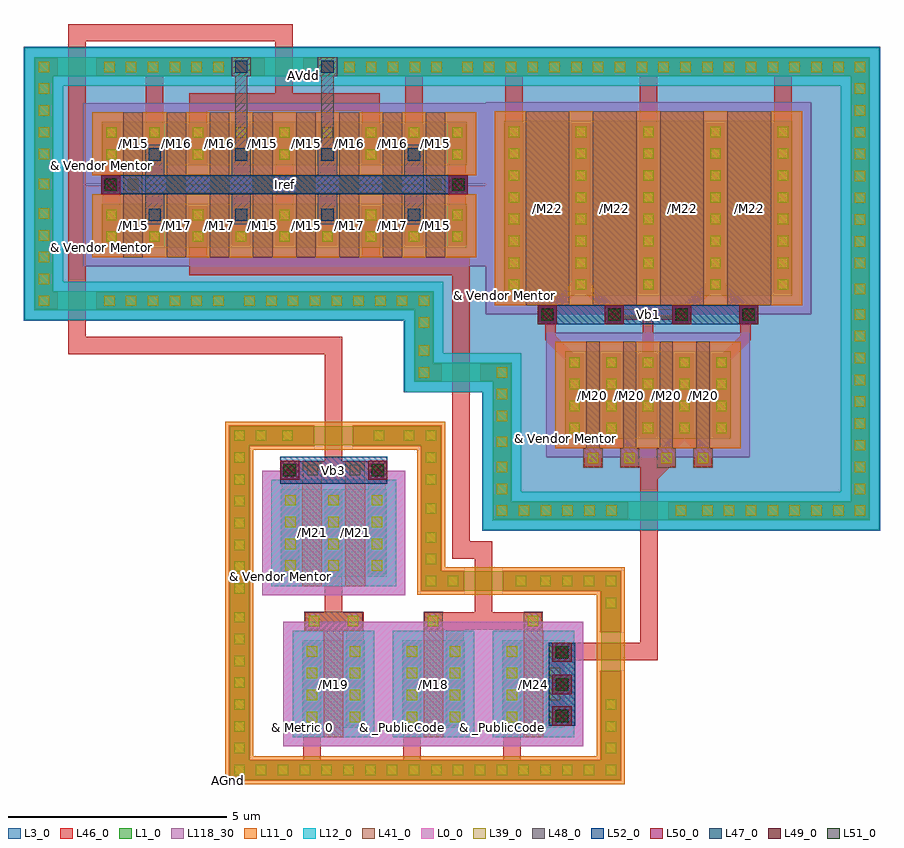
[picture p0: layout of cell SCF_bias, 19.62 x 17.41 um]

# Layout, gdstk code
import gdstk
lib = gdstk.Library(unit=1e-6, precision=1e-09)
def R(c, l, rs):  # rectangles x0, y0, x1, y1
    for r in rs: c.add(gdstk.rectangle(r[:2], r[2:], *l))
def A(c, l, x, y, w, h, nx, ny, dx, dy):  # array of equal rectangles
    R(c, l, [(x+i*dx, y+j*dy, x+i*dx+w, y+j*dy+h) for i in range(nx) for j in range(ny)])
def P(c, l, *ps):  # polygons
    for p in ps: c.add(gdstk.Polygon(p, *l))
L0_0 = (0, 0)
L1_0 = (1, 0)
L3_0 = (3, 0)
L11_0 = (11, 0)
L12_0 = (12, 0)
L39_0 = (39, 0)
L41_0 = (41, 0)
L46_0 = (46, 0)
L47_0 = (47, 0)
L48_0 = (48, 0)
L49_0 = (49, 0)
L50_0 = (50, 0)
L51_0 = (51, 0)
L52_0 = (52, 0)
L118_30 = (118, 30)

m2m3 = lib.new_cell('M2M3')
R(m2m3, L48_0, [(-0.22,-0.22,0.22,0.22)])
R(m2m3, L49_0, [(-0.14,-0.14,0.14,0.14)])
R(m2m3, L50_0, [(-0.22,-0.22,0.22,0.22)])

m3m4 = lib.new_cell('M3M4')
R(m3m4, L50_0, [(-0.22,-0.22,0.22,0.22)])
R(m3m4, L51_0, [(-0.14,-0.14,0.14,0.14)])
R(m3m4, L52_0, [(-0.22,-0.22,0.22,0.22)])

m1m2 = lib.new_cell('M1M2')
R(m1m2, L46_0, [(-0.22,-0.22,0.22,0.22)])
R(m1m2, L47_0, [(-0.14,-0.14,0.14,0.14)])
R(m1m2, L48_0, [(-0.22,-0.22,0.22,0.22)])

mpoly = lib.new_cell('MPOLY')
R(mpoly, L39_0, [(-0.12,-0.12,0.12,0.12)])
R(mpoly, L41_0, [(-0.22,-0.22,0.22,0.22)])
R(mpoly, L46_0, [(-0.2,-0.2,0.2,0.2)])

scf_bias = lib.new_cell('SCF_bias')
A(scf_bias, L0_0, 4.51, 4.87, 2.29, 2.86, 3, 1, 2.29, 0)
R(scf_bias, L0_0, [(4.02,8.33,7.3,11.19)])
A(scf_bias, L1_0, 4.94, 5.3, 1.43, 2, 3, 1, 2.29, 0)
R(scf_bias, L1_0, [(4.94,5.3,5.43,7.3), (5.88,5.3,6.37,7.3), (7.23,5.3,7.72,7.3), (8.17,5.3,8.66,7.3), (9.52,5.3,10.01,7.3), (10.46,5.3,10.95,7.3), (4.45,8.76,6.87,10.76), (4.45,8.76,4.94,10.76), (6.38,8.76,6.87,10.76), (10.96,11.92,11.45,13.92), (10.96,11.92,14.76,13.92), (14.27,11.92,14.76,13.92), (9.57,15.2,16.17,19.2), (9.57,15.2,10.06,19.2), (15.68,15.2,16.17,19.2), (0.35,16.3,8.71,17.3), (0.35,16.3,0.84,17.3), (8.22,16.3,8.71,17.3), (0.35,18.18,8.71,19.18), (0.35,18.18,0.84,19.18), (8.22,18.18,8.71,19.18)])
P(scf_bias, L1_0, [(12.23,4.11),(12.23,8.44),(11.79,8.44),(11.79,4.55),(3.72,4.55),(3.72,11.77),(7.67,11.77),(7.67,8.44),(12.23,8.44),(12.23,8.88),(8.11,8.88),(8.11,12.21),(3.28,12.21),(3.28,4.11)],
  [(17.94,10.05),(17.94,20.22),(17.5,20.22),(17.5,10.49),(9.74,10.49),(9.74,13.66),(7.95,13.66),(7.95,15.3),(-0.76,15.3),(-0.76,20.22),(17.94,20.22),(17.94,20.66),(-1.2,20.66),(-1.2,14.86),(7.51,14.86),(7.51,13.22),(9.3,13.22),(9.3,10.05)])
R(scf_bias, L3_0, [(10.53,11.49,15.19,14.35), (9.14,14.77,16.6,19.63), (-0.08,15.87,9.14,17.73), (-0.08,17.75,9.14,19.61)])
P(scf_bias, L3_0, [(18.18,9.81),(18.18,19.98),(17.26,19.98),(17.26,10.73),(9.98,10.73),(9.98,13.9),(8.19,13.9),(8.19,15.54),(-0.52,15.54),(-0.52,19.98),(18.18,19.98),(18.18,20.9),(-1.44,20.9),(-1.44,14.62),(7.27,14.62),(7.27,12.98),(9.06,12.98),(9.06,9.81)],
  [(-0.52,15.54),(8.19,15.54),(8.19,13.9),(9.98,13.9),(9.98,10.73),(17.26,10.73),(17.26,19.98),(-0.52,19.98)])
R(scf_bias, L11_0, [(10.74,11.7,14.98,14.14), (9.35,14.98,16.39,19.42), (0.13,16.08,8.93,17.52), (0.13,17.96,8.93,19.4)])
P(scf_bias, L11_0, [(12.33,4.01),(12.33,8.34),(11.69,8.34),(11.69,4.65),(3.82,4.65),(3.82,11.67),(7.57,11.67),(7.57,8.34),(12.33,8.34),(12.33,8.98),(8.21,8.98),(8.21,12.31),(3.18,12.31),(3.18,4.01)])
A(scf_bias, L12_0, 4.72, 5.08, 1.87, 2.44, 3, 1, 2.29, 0)
R(scf_bias, L12_0, [(4.23,8.54,7.09,10.98)])
P(scf_bias, L12_0, [(18.16,9.83),(18.16,20),(17.28,20),(17.28,10.71),(9.96,10.71),(9.96,13.88),(8.17,13.88),(8.17,15.52),(-0.54,15.52),(-0.54,20),(18.16,20),(18.16,20.88),(-1.42,20.88),(-1.42,14.64),(7.29,14.64),(7.29,13),(9.08,13),(9.08,9.83)])
A(scf_bias, L39_0, 3.38, 4.21, 0.24, 0.24, 9, 1, 0.5, 0)
A(scf_bias, L39_0, 7.89, 4.21, 0.24, 0.24, 9, 1, 0.5, 0)
A(scf_bias, L39_0, 3.38, 4.71, 0.24, 0.24, 1, 7, 0, 0.5)
A(scf_bias, L39_0, 11.89, 4.71, 0.24, 0.24, 1, 3, 0, 0.5)
A(scf_bias, L39_0, 5.04, 5.43, 0.24, 0.24, 1, 4, 0, 0.5)
A(scf_bias, L39_0, 6.03, 5.43, 0.24, 0.24, 1, 4, 0, 0.5)
A(scf_bias, L39_0, 7.33, 5.43, 0.24, 0.24, 1, 4, 0, 0.5)
A(scf_bias, L39_0, 8.32, 5.43, 0.24, 0.24, 1, 4, 0, 0.5)
A(scf_bias, L39_0, 9.62, 5.43, 0.24, 0.24, 1, 4, 0, 0.5)
A(scf_bias, L39_0, 10.61, 5.43, 0.24, 0.24, 1, 4, 0, 0.5)
A(scf_bias, L39_0, 3.38, 8.37, 0.24, 0.24, 1, 8, 0, 0.5)
A(scf_bias, L39_0, 7.77, 8.54, 0.24, 0.24, 1, 3, 0, 0.5)
A(scf_bias, L39_0, 10.39, 8.54, 0.24, 0.24, 4, 1, 0.5, 0)
A(scf_bias, L39_0, 4.55, 8.89, 0.24, 0.24, 3, 4, 0.99, 0.5)
A(scf_bias, L39_0, 9.4, 10.15, 0.24, 0.24, 6, 1, 0.5, 0)
A(scf_bias, L39_0, 14.1, 10.15, 0.24, 0.24, 8, 1, 0.5, 0)
A(scf_bias, L39_0, 17.6, 10.65, 0.24, 0.24, 1, 9, 0, 0.5)
A(scf_bias, L39_0, 7.77, 10.87, 0.24, 0.24, 1, 3, 0, 0.5)
A(scf_bias, L39_0, 11.06, 12.05, 0.24, 0.24, 5, 4, 0.84, 0.5)
A(scf_bias, L39_0, 9.4, 12.32, 0.24, 0.24, 1, 3, 0, 0.5)
A(scf_bias, L39_0, -1.1, 14.96, 0.24, 0.24, 1, 5, 0, 0.5)
A(scf_bias, L39_0, 0.4, 14.96, 0.24, 0.24, 6, 1, 0.5, 0)
A(scf_bias, L39_0, 3.61, 14.96, 0.24, 0.24, 9, 1, 0.5, 0)
A(scf_bias, L39_0, 9.67, 15.33, 0.24, 0.24, 5, 8, 1.54, 0.5)
A(scf_bias, L39_0, 17.6, 15.82, 0.24, 0.24, 1, 9, 0, 0.5)
A(scf_bias, L39_0, 0.45, 16.43, 0.24, 0.24, 9, 2, 0.99, 0.5)
A(scf_bias, L39_0, 0.45, 18.31, 0.24, 0.24, 9, 2, 0.99, 0.5)
A(scf_bias, L39_0, -1.1, 18.32, 0.24, 0.24, 1, 5, 0, 0.5)
A(scf_bias, L39_0, 0.4, 20.32, 0.24, 0.24, 7, 1, 0.5, 0)
A(scf_bias, L39_0, 5.4, 20.32, 0.24, 0.24, 6, 1, 0.5, 0)
A(scf_bias, L39_0, 8.6, 20.32, 0.24, 0.24, 19, 1, 0.5, 0)
R(scf_bias, L39_0, [(11.89,8.04,12.13,8.28), (8.27,8.54,8.51,8.78), (9.83,8.54,10.07,8.78), (13.5,10.15,13.74,10.39), (7.77,10.2,8.01,10.44), (9.4,10.65,9.64,10.89), (9.4,11.15,9.64,11.39), (9.4,11.73,9.64,11.97), (3.88,11.87,4.12,12.11), (4.48,11.87,4.72,12.11), (6.58,11.87,6.82,12.11), (7.27,11.87,7.51,12.11), (7.61,13.32,7.85,13.56), (7.61,13.82,7.85,14.06), (7.61,14.46,7.85,14.7), (17.6,15.23,17.84,15.47), (-1.1,17.64,-0.86,17.88)])
A(scf_bias, L41_0, 5.43, 5.08, 0.45, 0.22, 3, 2, 2.29, 2.22)
A(scf_bias, L41_0, 5.43, 5.3, 0.45, 2, 3, 1, 2.29, 0)
A(scf_bias, L41_0, 11.45, 11.7, 0.3, 0.22, 4, 2, 0.84, 2.22)
A(scf_bias, L41_0, 11.45, 11.92, 0.3, 2, 4, 1, 0.84, 0)
A(scf_bias, L41_0, 10.06, 14.98, 1, 0.22, 4, 2, 1.54, 4.22)
A(scf_bias, L41_0, 10.06, 15.2, 1, 4, 4, 1, 1.54, 0)
A(scf_bias, L41_0, 0.84, 16.08, 0.45, 0.22, 8, 2, 0.99, 1.22)
A(scf_bias, L41_0, 0.84, 16.3, 0.45, 1, 8, 2, 0.99, 1.88)
A(scf_bias, L41_0, 0.84, 17.96, 0.45, 0.22, 8, 2, 0.99, 1.22)
R(scf_bias, L41_0, [(5.43,7.52,5.88,7.96), (5.44,7.52,6.32,7.96), (4.94,8.54,5.39,8.76), (5.93,8.54,6.38,8.76), (4.94,8.76,5.39,10.76), (5.93,8.76,6.38,10.76), (4.94,10.76,5.39,10.98), (5.93,10.76,6.38,10.98)])
A(scf_bias, L46_0, 4.96, 4.17, 0.4, 1.58, 3, 1, 2.29, 0)
A(scf_bias, L46_0, 4.47, 8.81, 0.4, 1.9, 3, 1, 0.99, 0)
A(scf_bias, L46_0, 10.98, 11.97, 0.4, 1.9, 5, 1, 0.84, 0)
A(scf_bias, L46_0, 9.59, 15.25, 0.4, 3.9, 5, 1, 1.54, 0)
A(scf_bias, L46_0, 0.37, 16.35, 0.4, 0.9, 9, 2, 0.99, 1.88)
A(scf_bias, L46_0, 0.37, 16.85, 0.4, 1.09, 3, 2, 3.96, 0.69)
A(scf_bias, L46_0, 9.59, 18.73, 0.4, 1.91, 3, 1, 3.08, 0)
R(scf_bias, L46_0, [(4.96,5.35,5.36,7.25), (5.95,5.35,6.35,7.25), (7.25,5.35,7.65,7.25), (8.24,5.35,8.64,7.25), (9.54,5.35,9.94,7.25), (10.53,5.35,10.93,7.25), (8.24,6.85,8.64,7.94), (5.01,7.54,5.86,7.94), (5.46,7.54,5.86,9.21), (7.74,7.54,8.64,7.94), (8.24,7.54,9.29,7.94), (8.89,7.54,10.43,7.94), (4.97,11,5.86,11.4), (5.46,11,6.35,11.4), (6.31,15.67,6.71,16.75), (0.37,17.54,1.26,17.94), (0.86,17.54,8.2,17.94), (7.8,17.54,8.69,17.94), (0.43,17.62,0.69,17.86), (8.37,17.62,8.63,17.86), (1.36,18.73,1.76,20.64), (7.3,18.73,7.7,20.64), (0.22,20.24,4.08,20.64)])
P(scf_bias, L46_0, [(12.25,7.49),(12.25,8.9),(9.53,8.9),(9.53,8.42),(11.77,8.42),(11.77,7.49)],
  [(12.25,4.09),(12.25,6.61),(11.77,6.61),(11.77,4.57),(3.74,4.57),(3.74,11.75),(5.22,11.75),(5.22,12.23),(3.26,12.23),(3.26,4.09)],
  [(8.65,8.42),(8.65,8.9),(8.13,8.9),(8.13,12.23),(6.1,12.23),(6.1,11.75),(7.65,11.75),(7.65,8.42)],
  [(12.41,10.07),(12.41,10.47),(9.72,10.47),(9.72,13.64),(9.02,13.64),(9.02,13.24),(9.32,13.24),(9.32,10.07)],
  [(8.14,13.24),(8.14,13.64),(7.93,13.64),(7.93,15.28),(0.22,15.28),(0.22,14.88),(7.53,14.88),(7.53,13.24)],
  [(-0.66,14.88),(-0.66,15.28),(-0.78,15.28),(-0.78,20.24),(-0.66,20.24),(-0.66,20.64),(-1.18,20.64),(-1.18,14.88)],
  [(17.92,10.07),(17.92,20.64),(4.96,20.64),(4.96,20.24),(17.52,20.24),(17.52,10.47),(13.32,10.47),(13.32,10.07)],
  [(4.96,20.24),(17.52,20.24),(17.52,10.47),(13.32,10.47),(13.32,10.07),(17.92,10.07),(17.92,20.64),(4.96,20.64)],
  [(3.26,4.09),(12.25,4.09),(12.25,6.61),(11.77,6.61),(11.77,4.57),(3.74,4.57),(3.74,12.23),(3.26,12.23)],
  [(5.46,7.54),(5.95,7.54),(5.95,6.85),(6.35,6.85),(6.35,7.94),(5.46,7.94)],
  [(-0.42,13.86),(5.46,13.86),(5.46,11),(5.86,11),(5.86,14.26),(-0.02,14.26),(-0.02,21.02),(4.32,21.02),(4.32,19.43),(4.72,19.43),(4.72,21.42),(-0.42,21.42)],
  [(4.32,19.43),(6.31,19.43),(6.31,18.73),(6.71,18.73),(6.71,19.83),(4.32,19.83)],
  [(2.35,15.67),(6.71,15.67),(6.71,16.07),(2.75,16.07),(2.75,16.75),(2.35,16.75)],
  [(2.35,18.73),(2.75,18.73),(2.75,19.43),(4.72,19.43),(4.72,19.83),(2.35,19.83)],
  [(5.95,11),(6.45,11),(6.45,10.31),(6.85,10.31),(6.85,11.4),(5.95,11.4)],
  [(4.47,10.31),(4.87,10.31),(4.87,11),(5.37,11),(5.37,11.4),(4.47,11.4)],
  [(10.53,6.85),(13.08,6.85),(13.08,10.99),(13.48,11.39),(13.34,11.53),(13.7,11.89),(14.08,11.51),(14.08,11.36),(14.32,11.36),(14.32,11.61),(13.9,12.03),(13.9,12.21),(13.5,12.21),(13.5,12.03),(13.08,11.61),(13.08,11.68),(12.64,11.68),(12.64,11.61),(12.22,12.03),(12.22,12.21),(11.82,12.21),(11.82,12.03),(11.4,11.61),(11.4,11.36),(11.64,11.36),(11.64,11.51),(12.02,11.89),(12.4,11.51),(12.4,11.36),(12.64,11.36),(12.64,11.28),(12.68,11.28),(12.68,7.25),(10.53,7.25)],
  [(6.31,15.67),(8.38,15.67),(8.38,9.17),(8.89,9.17),(8.89,7.54),(9.29,7.54),(9.29,9.57),(8.78,9.57),(8.78,16.07),(6.31,16.07)],
  [(10.35,14.73),(10.51,14.57),(10.51,14.17),(11.1,13.58),(11.27,13.75),(10.75,14.27),(10.75,14.79),(11.21,15.25),(11.43,15.25),(11.97,14.71),(11.97,14.64),(12.04,14.64),(12.12,14.56),(12.2,14.64),(12.74,14.64),(12.74,13.63),(12.98,13.63),(12.98,14.64),(13.52,14.64),(13.6,14.56),(13.68,14.64),(13.75,14.64),(13.75,14.71),(14.29,15.25),(14.51,15.25),(14.97,14.79),(14.97,14.27),(14.45,13.75),(14.62,13.58),(15.21,14.17),(15.21,14.57),(15.37,14.73),(14.61,15.49),(14.19,15.49),(13.58,14.88),(12.14,14.88),(11.53,15.49),(11.11,15.49)])
R(scf_bias, L48_0, [(3.4,18.29,3.68,20.58), (5.38,18.29,5.66,20.58)])
P(scf_bias, L48_0, [(1.34,16.83),(1.78,16.83),(1.78,17.54),(3.32,17.54),(3.32,16.83),(3.76,16.83),(3.76,17.54),(5.3,17.54),(5.3,16.83),(5.74,16.83),(5.74,17.54),(7.28,17.54),(7.28,16.83),(7.72,16.83),(7.72,18.65),(7.28,18.65),(7.28,17.94),(5.74,17.94),(5.74,18.65),(5.3,18.65),(5.3,17.94),(3.76,17.94),(3.76,18.65),(3.32,18.65),(3.32,17.94),(1.78,17.94),(1.78,18.65),(1.34,18.65)])
R(scf_bias, L52_0, [(10.59,5.35,11.19,7.25), (4.43,10.89,6.89,11.51), (10.33,14.54,15.39,14.98), (0.33,17.52,8.73,17.96)])
A(scf_bias, L118_30, 4.51, 4.87, 2.29, 2.86, 3, 1, 2.29, 0)
R(scf_bias, L118_30, [(4.02,8.33,7.3,11.19), (10.53,11.49,15.19,14.35), (9.14,14.77,16.6,19.63), (-0.08,15.87,9.14,17.73), (-0.08,17.75,9.14,19.61)])
scf_bias.add(gdstk.Reference(m2m3, (10.89,6.29)))
scf_bias.add(gdstk.Reference(m3m4, (10.89,7.03)))
scf_bias.add(gdstk.Reference(m1m2, (10.89,6.29)))
scf_bias.add(gdstk.Reference(m1m2, (10.89,5.57)))
scf_bias.add(gdstk.Reference(m2m3, (10.89,5.57)))
scf_bias.add(gdstk.Reference(m3m4, (10.89,5.57)))
scf_bias.add(gdstk.Reference(mpoly, (7.94,7.74)))
scf_bias.add(gdstk.Reference(mpoly, (5.21,7.74)))
scf_bias.add(gdstk.Reference(m2m3, (10.89,7.03)))
scf_bias.add(gdstk.Reference(mpoly, (10.23,7.74)))
scf_bias.add(gdstk.Reference(m3m4, (10.89,6.29)))
scf_bias.add(gdstk.Reference(m1m2, (10.89,7.03)))
scf_bias.add(gdstk.Reference(mpoly, (6.1,7.74)))
scf_bias.add(gdstk.Reference(mpoly, (6.01,17.74)))
scf_bias.add(gdstk.Reference(m1m2, (1.56,18.43)))
scf_bias.add(gdstk.Reference(m1m2, (0.55,17.74)))
scf_bias.add(gdstk.Reference(m1m2, (5.52,20.44)))
scf_bias.add(gdstk.Reference(mpoly, (5.02,17.74)))
scf_bias.add(gdstk.Reference(m1m2, (7.5,17.05)))
scf_bias.add(gdstk.Reference(m1m2, (1.56,17.05)))
scf_bias.add(gdstk.Reference(m1m2, (7.5,18.43)))
scf_bias.add(gdstk.Reference(mpoly, (1.06,17.74)))
scf_bias.add(gdstk.Reference(mpoly, (4.03,17.74)))
scf_bias.add(gdstk.Reference(mpoly, (3.05,17.74)))
scf_bias.add(gdstk.Reference(mpoly, (1.06,17.74)))
scf_bias.add(gdstk.Reference(m1m2, (3.54,18.43)))
scf_bias.add(gdstk.Reference(m1m2, (3.54,20.44)))
scf_bias.add(gdstk.Reference(mpoly, (2.05,17.74)))
scf_bias.add(gdstk.Reference(m3m4, (6.67,11.2)))
scf_bias.add(gdstk.Reference(m1m2, (6.67,11.2)))
scf_bias.add(gdstk.Reference(m2m3, (6.67,11.2)))
scf_bias.add(gdstk.Reference(m2m3, (4.65,11.2)))
scf_bias.add(gdstk.Reference(m1m2, (4.65,11.2)))
scf_bias.add(gdstk.Reference(mpoly, (5.17,11.2)))
scf_bias.add(gdstk.Reference(mpoly, (6.15,11.2)))
scf_bias.add(gdstk.Reference(m3m4, (4.65,11.2)))
scf_bias.add(gdstk.Reference(mpoly, (7,17.74)))
scf_bias.add(gdstk.Reference(m1m2, (5.52,18.43)))
scf_bias.add(gdstk.Reference(m1m2, (5.52,17.05)))
scf_bias.add(gdstk.Reference(m1m2, (3.54,17.05)))
scf_bias.add(gdstk.Reference(m2m3, (0.55,17.74)))
scf_bias.add(gdstk.Reference(m3m4, (0.55,17.74)))
scf_bias.add(gdstk.Reference(m1m2, (15.17,14.76)))
scf_bias.add(gdstk.Reference(m2m3, (15.17,14.76)))
scf_bias.add(gdstk.Reference(m2m3, (13.63,14.76)))
scf_bias.add(gdstk.Reference(m2m3, (12.09,14.76)))
scf_bias.add(gdstk.Reference(m2m3, (10.55,14.76)))
scf_bias.add(gdstk.Reference(m3m4, (10.55,14.76)))
scf_bias.add(gdstk.Reference(m3m4, (12.09,14.76)))
scf_bias.add(gdstk.Reference(m3m4, (13.63,14.76)))
scf_bias.add(gdstk.Reference(m3m4, (15.17,14.76)))
scf_bias.add(gdstk.Reference(mpoly, (10.55,14.76)))
scf_bias.add(gdstk.Reference(m2m3, (8.51,17.74)))
scf_bias.add(gdstk.Reference(m1m2, (8.51,17.74)))
scf_bias.add(gdstk.Reference(mpoly, (8,17.74)))
scf_bias.add(gdstk.Reference(mpoly, (12.44,11.48)))
scf_bias.add(gdstk.Reference(mpoly, (11.6,11.48)))
scf_bias.add(gdstk.Reference(mpoly, (13.63,14.76)))
scf_bias.add(gdstk.Reference(mpoly, (13.28,11.48)))
scf_bias.add(gdstk.Reference(mpoly, (14.12,11.48)))
scf_bias.add(gdstk.Reference(mpoly, (12.09,14.76)))
scf_bias.add(gdstk.Reference(m3m4, (8.51,17.74)))
scf_bias.add(gdstk.Reference(mpoly, (15.17,14.76)))
scf_bias.add(gdstk.Reference(m1m2, (10.55,14.76)))
scf_bias.add(gdstk.Reference(m1m2, (12.09,14.76)))
scf_bias.add(gdstk.Reference(m1m2, (13.63,14.76)))
scf_bias.add(gdstk.Label('/M21', (5.17,9.76), layer=85, texttype=0))
scf_bias.add(gdstk.Label('/M21', (6.16,9.76), layer=85, texttype=0))
scf_bias.add(gdstk.Label('& Vendor Mentor', (4.45,8.76), layer=63, texttype=63))
scf_bias.add(gdstk.Label('& Product UMC180FDKMFM', (4.45,8.76), layer=63, texttype=63))
scf_bias.add(gdstk.Label('& Version A01', (4.45,8.76), layer=63, texttype=63))
scf_bias.add(gdstk.Label('& Metric 0', (4.45,8.76), layer=63, texttype=63))
scf_bias.add(gdstk.Label('& _PublicCode', (4.45,8.76), layer=63, texttype=63))
scf_bias.add(gdstk.Label('/M15', (1.069,16.8), layer=85, texttype=0))
scf_bias.add(gdstk.Label('/M17', (2.059,16.8), layer=85, texttype=0))
scf_bias.add(gdstk.Label('/M17', (3.049,16.8), layer=85, texttype=0))
scf_bias.add(gdstk.Label('/M15', (4.039,16.8), layer=85, texttype=0))
scf_bias.add(gdstk.Label('/M15', (5.029,16.8), layer=85, texttype=0))
scf_bias.add(gdstk.Label('/M17', (6.019,16.8), layer=85, texttype=0))
scf_bias.add(gdstk.Label('/M17', (7.009,16.8), layer=85, texttype=0))
scf_bias.add(gdstk.Label('/M15', (7.999,16.8), layer=85, texttype=0))
scf_bias.add(gdstk.Label('& Vendor Mentor', (0.35,16.3), layer=63, texttype=63))
scf_bias.add(gdstk.Label('& Product UMC180FDKMFM', (0.35,16.3), layer=63, texttype=63))
scf_bias.add(gdstk.Label('& Version A01', (0.35,16.3), layer=63, texttype=63))
scf_bias.add(gdstk.Label('& Metric 0', (0.35,16.3), layer=63, texttype=63))
scf_bias.add(gdstk.Label('& _PublicCode', (0.35,16.3), layer=63, texttype=63))
scf_bias.add(gdstk.Label('& _PublicCode', (9.52,5.3), layer=63, texttype=63))
scf_bias.add(gdstk.Label('/M24', (10.24,6.3), layer=85, texttype=0))
scf_bias.add(gdstk.Label('& Vendor Mentor', (9.52,5.3), layer=63, texttype=63))
scf_bias.add(gdstk.Label('& Product UMC180FDKMFM', (9.52,5.3), layer=63, texttype=63))
scf_bias.add(gdstk.Label('& Version A01', (9.52,5.3), layer=63, texttype=63))
scf_bias.add(gdstk.Label('& Metric 0', (9.52,5.3), layer=63, texttype=63))
scf_bias.add(gdstk.Label('& Metric 0', (4.94,5.3), layer=63, texttype=63))
scf_bias.add(gdstk.Label('& Version A01', (4.94,5.3), layer=63, texttype=63))
scf_bias.add(gdstk.Label('& Product UMC180FDKMFM', (4.94,5.3), layer=63, texttype=63))
scf_bias.add(gdstk.Label('& Vendor Mentor', (4.94,5.3), layer=63, texttype=63))
scf_bias.add(gdstk.Label('/M19', (5.66,6.3), layer=85, texttype=0))
scf_bias.add(gdstk.Label('& _PublicCode', (4.94,5.3), layer=63, texttype=63))
scf_bias.add(gdstk.Label('/M15', (1.069,18.68), layer=85, texttype=0))
scf_bias.add(gdstk.Label('/M16', (2.059,18.68), layer=85, texttype=0))
scf_bias.add(gdstk.Label('/M16', (3.049,18.68), layer=85, texttype=0))
scf_bias.add(gdstk.Label('/M15', (4.039,18.68), layer=85, texttype=0))
scf_bias.add(gdstk.Label('/M15', (5.029,18.68), layer=85, texttype=0))
scf_bias.add(gdstk.Label('/M16', (6.019,18.68), layer=85, texttype=0))
scf_bias.add(gdstk.Label('/M16', (7.009,18.68), layer=85, texttype=0))
scf_bias.add(gdstk.Label('/M15', (7.999,18.68), layer=85, texttype=0))
scf_bias.add(gdstk.Label('& Vendor Mentor', (0.35,18.18), layer=63, texttype=63))
scf_bias.add(gdstk.Label('& Product UMC180FDKMFM', (0.35,18.18), layer=63, texttype=63))
scf_bias.add(gdstk.Label('& Version A01', (0.35,18.18), layer=63, texttype=63))
scf_bias.add(gdstk.Label('& Metric 0', (0.35,18.18), layer=63, texttype=63))
scf_bias.add(gdstk.Label('& _PublicCode', (0.35,18.18), layer=63, texttype=63))
scf_bias.add(gdstk.Label('& _PublicCode', (7.23,5.3), layer=63, texttype=63))
scf_bias.add(gdstk.Label('/M18', (7.95,6.3), layer=85, texttype=0))
scf_bias.add(gdstk.Label('& Vendor Mentor', (7.23,5.3), layer=63, texttype=63))
scf_bias.add(gdstk.Label('& Product UMC180FDKMFM', (7.23,5.3), layer=63, texttype=63))
scf_bias.add(gdstk.Label('& Version A01', (7.23,5.3), layer=63, texttype=63))
scf_bias.add(gdstk.Label('& Metric 0', (7.23,5.3), layer=63, texttype=63))
scf_bias.add(gdstk.Label('/M20', (12.44,12.92), layer=85, texttype=0))
scf_bias.add(gdstk.Label('/M20', (11.6,12.92), layer=85, texttype=0))
scf_bias.add(gdstk.Label('/M20', (13.28,12.92), layer=85, texttype=0))
scf_bias.add(gdstk.Label('/M20', (14.12,12.92), layer=85, texttype=0))
scf_bias.add(gdstk.Label('& Vendor Mentor', (10.96,11.92), layer=63, texttype=63))
scf_bias.add(gdstk.Label('& Product UMC180FDKMFM', (10.96,11.92), layer=63, texttype=63))
scf_bias.add(gdstk.Label('& Version A01', (10.96,11.92), layer=63, texttype=63))
scf_bias.add(gdstk.Label('& Metric 0', (10.96,11.92), layer=63, texttype=63))
scf_bias.add(gdstk.Label('& _PublicCode', (10.96,11.92), layer=63, texttype=63))
scf_bias.add(gdstk.Label('/M22', (10.56,17.2), layer=85, texttype=0))
scf_bias.add(gdstk.Label('/M22', (12.1,17.2), layer=85, texttype=0))
scf_bias.add(gdstk.Label('/M22', (13.64,17.2), layer=85, texttype=0))
scf_bias.add(gdstk.Label('/M22', (15.18,17.2), layer=85, texttype=0))
scf_bias.add(gdstk.Label('& Vendor Mentor', (9.57,15.2), layer=63, texttype=63))
scf_bias.add(gdstk.Label('& Product UMC180FDKMFM', (9.57,15.2), layer=63, texttype=63))
scf_bias.add(gdstk.Label('& Version A01', (9.57,15.2), layer=63, texttype=63))
scf_bias.add(gdstk.Label('& Metric 0', (9.57,15.2), layer=63, texttype=63))
scf_bias.add(gdstk.Label('& _PublicCode', (9.57,15.2), layer=63, texttype=63))
scf_bias.add(gdstk.Label('Vb2', (10.89,6.3), layer=104, texttype=0))
scf_bias.add(gdstk.Label('AGnd', (3.26,4.09), layer=101, texttype=0))
scf_bias.add(gdstk.Label('Vb3', (5.66,11.2), layer=104, texttype=0))
scf_bias.add(gdstk.Label('Iref', (4.53,17.74), layer=104, texttype=0))
scf_bias.add(gdstk.Label('AVdd', (4.96,20.24), layer=101, texttype=0))
scf_bias.add(gdstk.Label('Vb1', (12.86,14.76), layer=104, texttype=0))

lib.write_gds('SCF_bias.gds')
